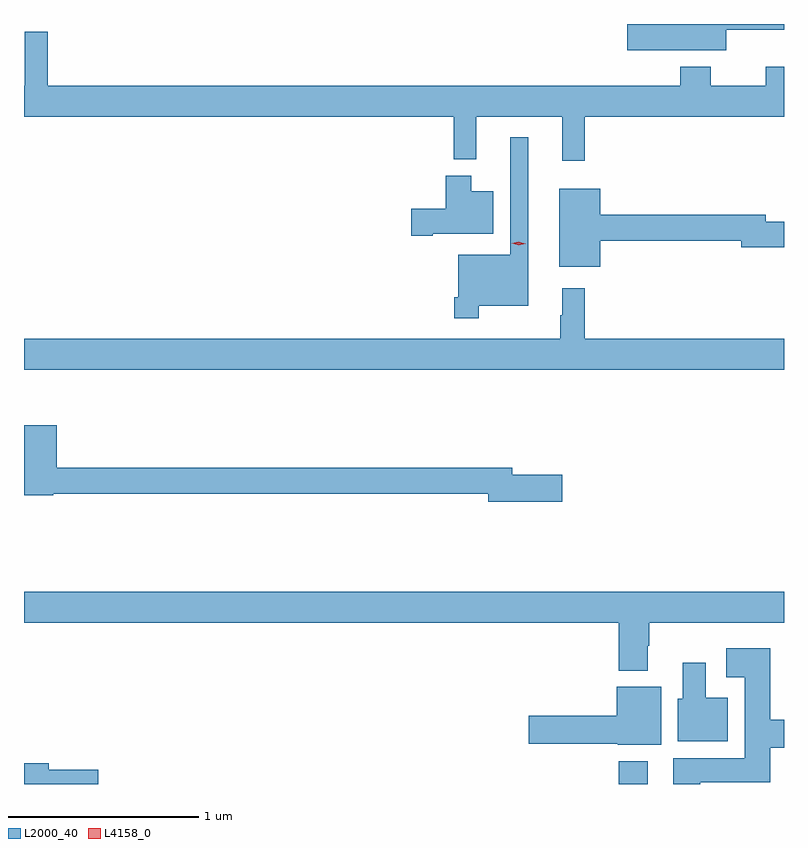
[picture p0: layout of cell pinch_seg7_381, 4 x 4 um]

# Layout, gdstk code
import gdstk
lib = gdstk.Library(unit=1e-6, precision=1e-09)
def R(c, l, rs):  # rectangles x0, y0, x1, y1
    for r in rs: c.add(gdstk.rectangle(r[:2], r[2:], *l))
def P(c, l, *ps):  # polygons
    for p in ps: c.add(gdstk.Polygon(p, *l))
L2000_40 = (2000, 40)
L4158_0 = (4158, 0)

pinch_seg7_381 = lib.new_cell('pinch_seg7_381')
R(pinch_seg7_381, L2000_40, [(521.453,1023.744,521.605,1023.865)])
P(pinch_seg7_381, L2000_40, [(522.018,1027.715),(522.323,1027.715),(522.323,1027.744),(521.499,1027.744),(521.499,1027.607),(522.018,1027.607)],
  [(521.273,1027.256),(522.323,1027.256),(522.323,1027.519),(522.226,1027.519),(522.226,1027.42),(521.937,1027.42),(521.937,1027.519),(521.777,1027.519),(521.777,1027.42),(518.449,1027.42),(518.449,1027.702),(518.327,1027.702),(518.327,1027.42),(518.323,1027.42),(518.323,1027.256),(520.585,1027.256),(520.585,1027.031),(520.703,1027.031),(520.703,1027.256),(521.156,1027.256),(521.156,1027.023),(521.273,1027.023)],
  [(520.717,1026.26),(520.978,1026.26),(520.978,1027.147),(520.881,1027.147),(520.881,1026.529),(520.608,1026.529),(520.608,1026.307),(520.588,1026.307),(520.588,1026.195),(520.717,1026.195)],
  [(520.474,1026.641),(520.792,1026.641),(520.792,1026.865),(520.678,1026.865),(520.678,1026.946),(520.544,1026.946),(520.544,1026.771),(520.362,1026.771),(520.362,1026.629),(520.474,1026.629)],
  [(521.356,1026.604),(522.098,1026.604),(522.098,1026.569),(522.323,1026.569),(522.323,1026.704),(522.226,1026.704),(522.226,1026.74),(521.356,1026.74),(521.356,1026.877),(521.141,1026.877),(521.141,1026.467),(521.356,1026.467)],
  [(522.323,1026.088),(521.273,1026.088),(521.273,1026.352),(521.156,1026.352),(521.156,1026.212),(521.145,1026.212),(521.145,1026.088),(518.323,1026.088),(518.323,1025.924),(522.323,1025.924)],
  [(521.155,1025.372),(520.894,1025.372),(520.894,1025.408),(518.495,1025.408),(518.495,1025.632),(518.324,1025.632),(518.324,1025.395),(518.323,1025.395),(518.323,1025.264),(518.478,1025.264),(518.478,1025.272),(520.766,1025.272),(520.766,1025.23),(521.155,1025.23)],
  [(521.605,1024.472),(521.613,1024.472),(521.613,1024.592),(522.323,1024.592),(522.323,1024.756),(518.323,1024.756),(518.323,1024.592),(521.453,1024.592),(521.453,1024.34),(521.605,1024.34)],
  [(521.881,1023.752),(522.251,1023.752),(522.251,1023.935),(522.323,1023.935),(522.323,1024.082),(522.251,1024.082),(522.251,1024.459),(522.02,1024.459),(522.02,1024.307),(522.116,1024.307),(522.116,1023.88),(521.741,1023.88),(521.741,1023.744),(521.881,1023.744)],
  [(522.028,1024.198),(521.911,1024.198),(521.911,1024.381),(521.789,1024.381),(521.789,1024.194),(521.765,1024.194),(521.765,1023.968),(522.028,1023.968)],
  [(521.677,1024.255),(521.444,1024.255),(521.444,1024.103),(520.98,1024.103),(520.98,1023.956),(521.448,1023.956),(521.448,1023.95),(521.677,1023.95)],
  [(518.713,1023.818),(518.452,1023.818),(518.452,1023.854),(518.323,1023.854),(518.323,1023.744),(518.713,1023.744)])
P(pinch_seg7_381, L4158_0, [(520.926,1026.579),(520.891,1026.59),(520.891,1026.591),(520.891,1026.591),(520.927,1026.599),(520.962,1026.588),(520.963,1026.587),(520.962,1026.587)])

lib.write_gds('pinch_seg7_381.gds')
